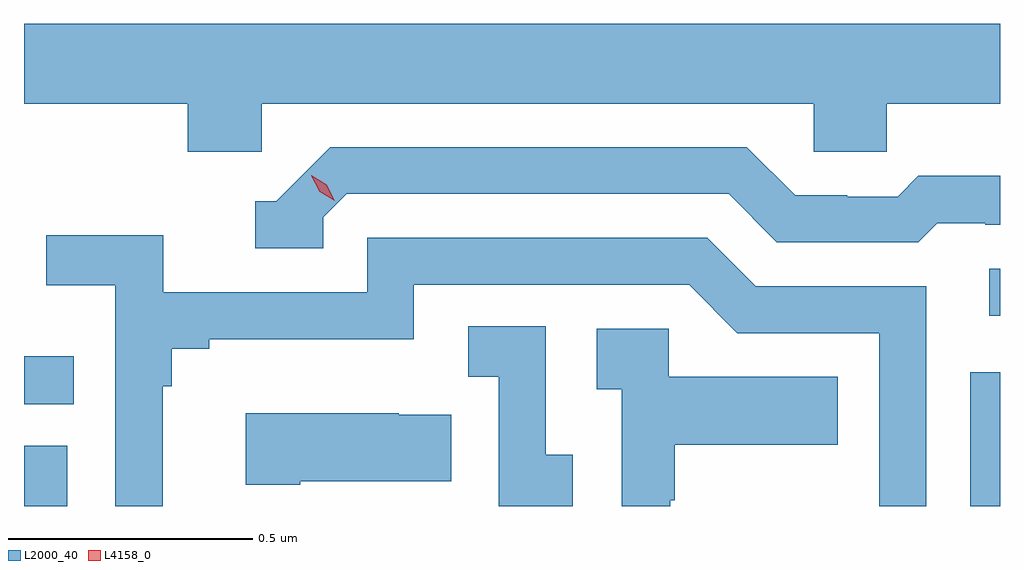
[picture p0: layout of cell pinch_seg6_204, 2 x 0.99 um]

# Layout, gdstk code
import gdstk
lib = gdstk.Library(unit=1e-6, precision=1e-09)
def R(c, l, rs):  # rectangles x0, y0, x1, y1
    for r in rs: c.add(gdstk.rectangle(r[:2], r[2:], *l))
def P(c, l, *ps):  # polygons
    for p in ps: c.add(gdstk.Polygon(p, *l))
L2000_40 = (2000, 40)
L4158_0 = (4158, 0)

pinch_seg6_204 = lib.new_cell('pinch_seg6_204')
R(pinch_seg6_204, L2000_40, [(1077.167,918.539,1077.256,918.663), (1079.106,918.539,1079.167,918.814), (1077.167,918.748,1077.269,918.847), (1079.145,918.93,1079.167,919.026)])
P(pinch_seg6_204, L2000_40, [(1077.654,919.364),(1078.785,919.364),(1078.785,919.266),(1078.935,919.266),(1078.935,919.364),(1079.167,919.364),(1079.167,919.528),(1077.167,919.528),(1077.167,919.364),(1077.503,919.364),(1077.503,919.266),(1077.654,919.266)],
  [(1077.78,919.131),(1077.828,919.179),(1078.611,919.179),(1078.71,919.08),(1078.999,919.08),(1079.038,919.119),(1079.137,919.119),(1079.137,919.116),(1079.167,919.116),(1079.167,919.216),(1078.999,919.216),(1078.957,919.173),(1078.854,919.173),(1078.854,919.176),(1078.747,919.176),(1078.648,919.275),(1077.795,919.275),(1077.684,919.164),(1077.641,919.164),(1077.641,919.068),(1077.78,919.068)],
  [(1077.451,918.785),(1077.47,918.785),(1077.47,918.862),(1077.547,918.862),(1077.547,918.881),(1077.966,918.881),(1077.966,918.993),(1078.53,918.993),(1078.629,918.894),(1078.92,918.894),(1078.92,918.539),(1079.016,918.539),(1079.016,918.99),(1078.666,918.99),(1078.567,919.089),(1077.87,919.089),(1077.87,918.978),(1077.452,918.978),(1077.452,919.094),(1077.213,919.094),(1077.213,918.992),(1077.354,918.992),(1077.354,918.539),(1077.451,918.539)],
  [(1078.291,918.645),(1078.236,918.645),(1078.236,918.908),(1078.077,918.908),(1078.077,918.805),(1078.14,918.805),(1078.14,918.539),(1078.291,918.539)],
  [(1078.491,918.551),(1078.501,918.551),(1078.501,918.665),(1078.835,918.665),(1078.835,918.805),(1078.488,918.805),(1078.488,918.903),(1078.341,918.903),(1078.341,918.779),(1078.392,918.779),(1078.392,918.539),(1078.491,918.539)],
  [(1077.733,918.59),(1078.043,918.59),(1078.043,918.727),(1077.935,918.727),(1077.935,918.73),(1077.621,918.73),(1077.621,918.583),(1077.733,918.583)])
P(pinch_seg6_204, L4158_0, [(1077.804,919.165),(1077.773,919.184),(1077.756,919.216),(1077.756,919.217),(1077.756,919.217),(1077.787,919.198),(1077.804,919.165),(1077.804,919.165)])

lib.write_gds('pinch_seg6_204.gds')
